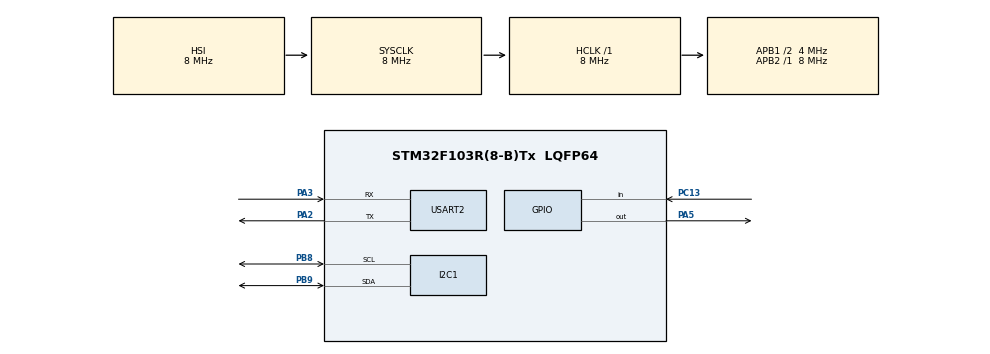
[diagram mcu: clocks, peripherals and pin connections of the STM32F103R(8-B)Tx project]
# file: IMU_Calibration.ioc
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Mcu.Family=STM32F1
Mcu.Name=STM32F103R(8-B)Tx
Mcu.Package=LQFP64
NVIC.PriorityGroup=NVIC_PRIORITYGROUP_4
PA2.Mode=Asynchronous
PA2.Signal=USART2_TX
PA3.Mode=Asynchronous
PA3.Signal=USART2_RX
PA5.Signal=GPIO_Output
PB8.Mode=I2C
PB8.Signal=I2C1_SCL
PB9.Mode=I2C
PB9.Signal=I2C1_SDA
PC13-TAMPER-RTC.Signal=GPIO_Input
ProjectManager.HeapSize=0x200
ProjectManager.StackSize=0x400
ProjectManager.TargetToolchain=MDK-ARM V5
RCC.AHBFreq_Value=8000000
RCC.APB1CLKDivider=RCC_HCLK_DIV2
RCC.APB1Freq_Value=4000000
RCC.APB1TimFreq_Value=8000000
RCC.APB2Freq_Value=8000000
RCC.APB2TimFreq_Value=8000000
RCC.HCLKFreq_Value=8000000
RCC.PLLMUL=RCC_PLL_MUL16
RCC.RTCClockSelection=RCC_RTCCLKSOURCE_LSE
RCC.SYSCLKFreq_VALUE=8000000
RCC.USBFreq_Value=64000000
USART2.VirtualMode=VM_ASYNC
VP_SYS_VS_ND.Mode=No_Debug
board=NUCLEO-F103RB

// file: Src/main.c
/* USER CODE BEGIN Header */
/**
  ******************************************************************************
  * @file           : main.c
  * @brief          : Main program body
  ******************************************************************************
  **
  */
/* USER CODE END Header */

#include "main.h"

/* USER CODE BEGIN Includes */
#include <BNO055_IMU.h>
#include <string.h>
#include <float.h>

/* USER CODE END Includes */

/* USER CODE BEGIN PD */
#define SKIP_GYRO

#define GYRO_POINTS 1000
#define GYRO_WAIT_TIME_MS 10

#define MAG_POINTS 500
#define MAG_WAIT_TIME_MS 50

#define GYRO_SPHERE_R 1.0

/* USER CODE END PD */

I2C_HandleTypeDef hi2c1;

UART_HandleTypeDef huart2;

void SystemClock_Config(void);
static void MX_GPIO_Init(void);
static void MX_USART2_UART_Init(void);
static void MX_I2C1_Init(void);
/* USER CODE BEGIN PFP */

double max(double x, double y) {
	if(x > y) {
		return x;
	}
	return y;
}

double min(double x, double y) {
	if(x < y) {
		return x;
	}
	return y;
}

/* USER CODE END PFP */

int main(void)
{

  /* MCU Configuration--------------------------------------------------------*/

  /* Reset of all peripherals, Initializes the Flash interface and the Systick. */
  HAL_Init();

  /* Configure the system clock */
  SystemClock_Config();

  /* Initialize all configured peripherals */
  MX_GPIO_Init();
  MX_USART2_UART_Init();
  MX_I2C1_Init();
  /* USER CODE BEGIN 2 */

	do {
		char transmit[50];
		sprintf(transmit, "Initializing IMU...\r\n");
		HAL_UART_Transmit(&huart2, (uint8_t*)transmit, strlen(transmit), 20);
	}
	while(0);

	IMU_init(&hi2c1, OPERATION_MODE_MAGGYRO);

	// GYRO CALIBRATION
	#ifndef SKIP_GYRO
	do {
		char transmit[10];
		sprintf(transmit, "GYRO\r\nWaiting for gyro to warm up...\r\n\r\n");
		HAL_UART_Transmit(&huart2, (uint8_t*)transmit, strlen(transmit), 20);
	}
	while(0);

	HAL_Delay(10000);

	do {
		char transmit[200];
		sprintf(transmit, "Leave the IMU flat on the table and press the button\r\n...\r\n");
		HAL_UART_Transmit(&huart2, (uint8_t*)transmit, strlen(transmit), 20);
	}
	while(0);

	while(HAL_GPIO_ReadPin(GPIOC, GPIO_PIN_13) == GPIO_PIN_RESET);
	while(HAL_GPIO_ReadPin(GPIOC, GPIO_PIN_13) == GPIO_PIN_SET); // Block until button is pressed

	do {
		char transmit[200];
		sprintf(transmit, "Gyro calibrating... ");
		HAL_UART_Transmit(&huart2, (uint8_t*)transmit, strlen(transmit), 20);
	}
	while(0);

	float gyro_data[3];

	double gyro_x_offset = 0;
	double gyro_y_offset = 0;
	double gyro_z_offset = 0;

	for(int i = 0;i < GYRO_POINTS;i++) {
		get_gyr_data(&hi2c1, gyro_data);
		gyro_x_offset += gyro_data[0]/GYRO_POINTS;
		gyro_y_offset += gyro_data[1]/GYRO_POINTS;
		gyro_z_offset += gyro_data[2]/GYRO_POINTS;

		HAL_Delay(GYRO_WAIT_TIME_MS);
	}

	do {
		char transmit[200];
		sprintf(transmit, "DONE\r\n\r\n\tGyro offsets\r\nx: %5.6f\ty: %5.6f\tz: %5.6f\r\n\r\n", gyro_x_offset, gyro_y_offset, gyro_z_offset);
		HAL_UART_Transmit(&huart2, (uint8_t*)transmit, strlen(transmit), 40);
	}
	while(0);
	#endif

	// MAG CALIBRATION
	do {
		char transmit[10];
		sprintf(transmit, "MAGNETOMETER\r\n");
		HAL_UART_Transmit(&huart2, (uint8_t*)transmit, strlen(transmit), 20);
	}
	while(0);

	HAL_Delay(500);

	do {
		char transmit[200];
		sprintf(transmit, "Instructions :O\r\n");
		HAL_UART_Transmit(&huart2, (uint8_t*)transmit, strlen(transmit), 20);
	}
	while(0);

	while(HAL_GPIO_ReadPin(GPIOC, GPIO_PIN_13) == GPIO_PIN_RESET);
	while(HAL_GPIO_ReadPin(GPIOC, GPIO_PIN_13) == GPIO_PIN_SET); // Block until button is pressed

	do {
		char transmit[200];
		sprintf(transmit, "Reading magnetometer... ");
		HAL_UART_Transmit(&huart2, (uint8_t*)transmit, strlen(transmit), 20);
	}
	while(0);

	double mag_x_max = -DBL_MAX;
	double mag_y_max = -DBL_MAX;
	double mag_z_max = -DBL_MAX;
	double mag_x_min = DBL_MAX;
	double mag_y_min = DBL_MAX;
	double mag_z_min = DBL_MAX;

	float mag_data[3];

	// Find maximum/minimum mag values
	//for(int i = 0;i < MAG_POINTS;i++) {
	while(HAL_GPIO_ReadPin(GPIOC, GPIO_PIN_13) == GPIO_PIN_RESET);
	while(HAL_GPIO_ReadPin(GPIOC, GPIO_PIN_13) == GPIO_PIN_SET) { // Block until button is pressed
		get_mag_data(&hi2c1, mag_data);
		mag_x_max = max(mag_data[0], mag_x_max);
		mag_y_max = max(mag_data[1], mag_y_max);
		mag_z_max = max(mag_data[2], mag_z_max);

		mag_x_min = min(mag_data[0], mag_x_min);
		mag_y_min = min(mag_data[1], mag_y_min);
		mag_z_min = min(mag_data[2], mag_z_min);

		HAL_Delay(MAG_WAIT_TIME_MS);
	}

	// Send max/min values
	do {
		char transmit[200];
		sprintf(transmit, "x: \ty: \tz: \r\nmax: %5.6f\t %5.6f\t %5.6f\r\nmin: %5.6f\t %5.6f\t %5.6f\r\n",
			mag_x_max, mag_y_max, mag_z_max, mag_x_min, mag_y_min, mag_z_min);
		HAL_UART_Transmit(&huart2, (uint8_t*)transmit, strlen(transmit), 40);
	}
	while(0);

	// Calculate scaling factor and offsets
	double mag_x_scalar = 2*GYRO_SPHERE_R/(mag_x_max - mag_x_min);
	double mag_y_scalar = 2*GYRO_SPHERE_R/(mag_y_max - mag_y_min);
	double mag_z_scalar = 2*GYRO_SPHERE_R/(mag_z_max - mag_z_min);

	double mag_x_offset = -(mag_x_max + mag_x_min)/2;
	double mag_y_offset = -(mag_y_max + mag_y_min)/2;
	double mag_z_offset = -(mag_z_max + mag_z_min)/2;

	do {
		char transmit[200];
		sprintf(transmit, "\tMag offsets\r\nx: %5.6f\ty: %5.6f\tz: %5.6f\r\n\r\n\tMag scaling factors\r\nx: %5.6f\ty: %5.6f\tz: %5.6f\r\n",
			mag_x_offset, mag_y_offset, mag_z_offset, mag_x_scalar, mag_y_scalar, mag_z_scalar);
		HAL_UART_Transmit(&huart2, (uint8_t*)transmit, strlen(transmit), 40);
	}
	while(0);

  /* USER CODE END 2 */

  /* Infinite loop */
  while (1)
  {

  }
}

void SystemClock_Config(void)
{
  RCC_OscInitTypeDef RCC_OscInitStruct = {0};
  RCC_ClkInitTypeDef RCC_ClkInitStruct = {0};

  /**Initializes the CPU, AHB and APB busses clocks
  */
  RCC_OscInitStruct.OscillatorType = RCC_OSCILLATORTYPE_HSI;
  RCC_OscInitStruct.HSIState = RCC_HSI_ON;
  RCC_OscInitStruct.HSICalibrationValue = RCC_HSICALIBRATION_DEFAULT;
  RCC_OscInitStruct.PLL.PLLState = RCC_PLL_NONE;
  if (HAL_RCC_OscConfig(&RCC_OscInitStruct) != HAL_OK)
  {
    Error_Handler();
  }
  /**Initializes the CPU, AHB and APB busses clocks
  */
  RCC_ClkInitStruct.ClockType = RCC_CLOCKTYPE_HCLK|RCC_CLOCKTYPE_SYSCLK
                              |RCC_CLOCKTYPE_PCLK1|RCC_CLOCKTYPE_PCLK2;
  RCC_ClkInitStruct.SYSCLKSource = RCC_SYSCLKSOURCE_HSI;
  RCC_ClkInitStruct.AHBCLKDivider = RCC_SYSCLK_DIV1;
  RCC_ClkInitStruct.APB1CLKDivider = RCC_HCLK_DIV2;
  RCC_ClkInitStruct.APB2CLKDivider = RCC_HCLK_DIV1;

  if (HAL_RCC_ClockConfig(&RCC_ClkInitStruct, FLASH_LATENCY_0) != HAL_OK)
  {
    Error_Handler();
  }
}

static void MX_I2C1_Init(void)
{

  hi2c1.Instance = I2C1;
  hi2c1.Init.ClockSpeed = 100000;
  hi2c1.Init.DutyCycle = I2C_DUTYCYCLE_2;
  hi2c1.Init.OwnAddress1 = 0;
  hi2c1.Init.AddressingMode = I2C_ADDRESSINGMODE_7BIT;
  hi2c1.Init.DualAddressMode = I2C_DUALADDRESS_DISABLE;
  hi2c1.Init.OwnAddress2 = 0;
  hi2c1.Init.GeneralCallMode = I2C_GENERALCALL_DISABLE;
  hi2c1.Init.NoStretchMode = I2C_NOSTRETCH_DISABLE;
  if (HAL_I2C_Init(&hi2c1) != HAL_OK)
  {
    Error_Handler();
  }

}

static void MX_USART2_UART_Init(void)
{

  huart2.Instance = USART2;
  huart2.Init.BaudRate = 115200;
  huart2.Init.WordLength = UART_WORDLENGTH_8B;
  huart2.Init.StopBits = UART_STOPBITS_1;
  huart2.Init.Parity = UART_PARITY_NONE;
  huart2.Init.Mode = UART_MODE_TX_RX;
  huart2.Init.HwFlowCtl = UART_HWCONTROL_NONE;
  huart2.Init.OverSampling = UART_OVERSAMPLING_16;
  if (HAL_UART_Init(&huart2) != HAL_OK)
  {
    Error_Handler();
  }

}

static void MX_GPIO_Init(void)
{
  GPIO_InitTypeDef GPIO_InitStruct = {0};

  /* GPIO Ports Clock Enable */
  __HAL_RCC_GPIOC_CLK_ENABLE();
  __HAL_RCC_GPIOA_CLK_ENABLE();
  __HAL_RCC_GPIOB_CLK_ENABLE();

  /*Configure GPIO pin Output Level */
  HAL_GPIO_WritePin(GPIOA, GPIO_PIN_5, GPIO_PIN_RESET);

  /*Configure GPIO pin : PC13 */
  GPIO_InitStruct.Pin = GPIO_PIN_13;
  GPIO_InitStruct.Mode = GPIO_MODE_INPUT;
  GPIO_InitStruct.Pull = GPIO_NOPULL;
  HAL_GPIO_Init(GPIOC, &GPIO_InitStruct);

  /*Configure GPIO pin : PA5 */
  GPIO_InitStruct.Pin = GPIO_PIN_5;
  GPIO_InitStruct.Mode = GPIO_MODE_OUTPUT_PP;
  GPIO_InitStruct.Pull = GPIO_NOPULL;
  GPIO_InitStruct.Speed = GPIO_SPEED_FREQ_LOW;
  HAL_GPIO_Init(GPIOA, &GPIO_InitStruct);

}

void Error_Handler(void)
{
}

/************************ (C) COPYRIGHT STMicroelectronics *****END OF FILE****/
